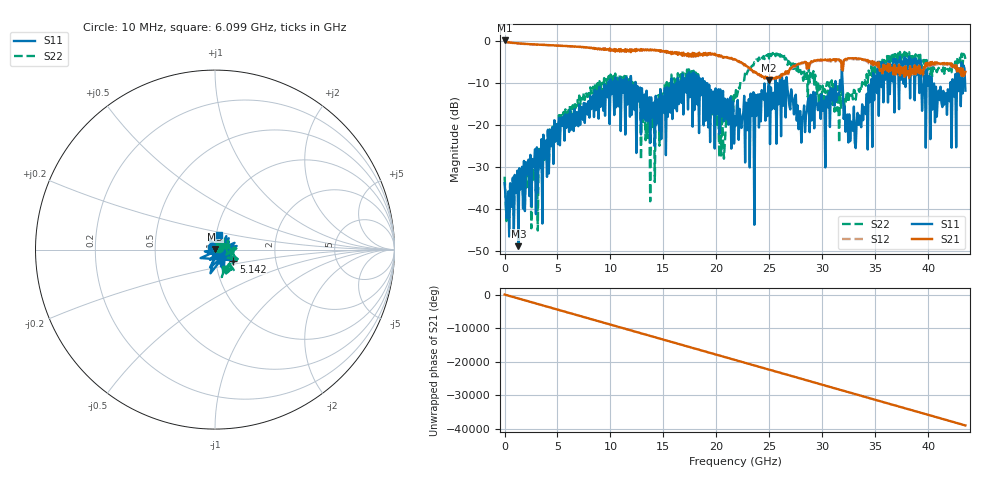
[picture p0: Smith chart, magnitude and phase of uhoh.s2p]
#  HZ  S  RI  R  50.00
! Rohde & Schwarz Vector Network Analyzer
! Rohde-Schwarz,ZNA43-2Port,1332450042101266,2.10
! Created: UTC 9/3/2021, 1:20:04 PM
! freq[Hz]  re:S11  im:S11  re:S21  im:S21  re:S12  im:S12  re:S22  im:S22
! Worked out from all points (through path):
!   501 points, 10 MHz to 43.5 GHz, reference 50 ohm
!   highest |S21| = 0.22 dB at 10 MHz (marker M1); lowest = -9.2 dB at 24.97 GHz (marker M2)
!   lowest |S11| = -48.9 dB at 1.315 GHz (marker M3), VSWR 1.01, Z = 50 + j0.361 ohm
!   |S11| at or under -10 dB: start of sweep to 9.828 GHz; 19.15 GHz to 24.92 GHz (5.776 GHz wide, 26.2 % of centre); 26.67 GHz to 31.23 GHz (4.559 GHz wide, 15.7 % of centre) (the widest 3 of 65)
!   |S22| runs from -45.1 to -2.5 dB; largest |S21 - S12| = 0.14
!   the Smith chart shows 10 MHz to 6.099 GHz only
!   S11 on the Smith chart (normalised r, x): 10 MHz: 0.97, +0.03; 5.142 GHz: 1.22, -0.16; 6.099 GHz: 1.03, +0.17
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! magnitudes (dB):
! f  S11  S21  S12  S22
! 10 MHz  -33.8  0.2  -0.3  -32.3
! 1.315 GHz  -48.9  -0.5  -0.5  -39.9
! 3.141 GHz  -36.1  -0.8  -0.8  -45.1
! 5.142 GHz  -18.2  -1.0  -1.1  -17.6
! 6.099 GHz  -21.6  -1.1  -1.1  -18.4
! 7.316 GHz  -16.0  -1.4  -1.4  -12.9
! 11.75 GHz  -9.7  -2.4  -2.4  -9.0
! 13.67 GHz  -13.3  -2.1  -2.1  -15.4
! 14.54 GHz  -13.7  -2.2  -2.3  -12.8
! 17.49 GHz  -13.3  -3.0  -3.1  -8.8
! 20.62 GHz  -11.8  -3.9  -3.9  -23.0
! 21.75 GHz  -17.8  -4.3  -4.4  -13.9
! 24.97 GHz  -8.8  -9.2  -9.4  -4.1
! 29.06 GHz  -14.1  -4.8  -5.0  -9.1
! 31.76 GHz  -11.4  -4.6  -4.7  -16.1
! 32.28 GHz  -17.7  -4.3  -4.5  -12.4
! 33.24 GHz  -19.3  -4.1  -4.3  -12.0
! 36.28 GHz  -4.7  -7.2  -7.5  -3.5
! 39.15 GHz  -12.3  -5.8  -6.1  -6.0
! 39.59 GHz  -10.0  -6.1  -6.5  -5.3
! 42.02 GHz  -14.3  -5.2  -5.6  -6.9
! 43.5 GHz  -11.8  -7.3  -7.5  -4.2
